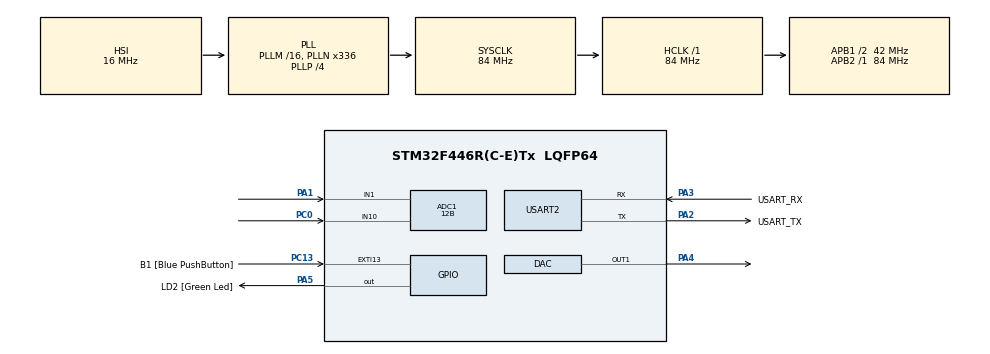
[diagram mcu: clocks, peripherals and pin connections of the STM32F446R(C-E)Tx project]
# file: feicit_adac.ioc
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ADC1.Channel-0\#ChannelRegularConversion=ADC_CHANNEL_1
ADC1.ContinuousConvMode=DISABLE
ADC1.DMAContinuousRequests=ENABLE
ADC1.ExternalTrigConv=ADC_EXTERNALTRIGCONV_T8_TRGO
ADC1.NbrOfConversionFlag=1
ADC1.Rank-0\#ChannelRegularConversion=1
ADC1.Resolution=ADC_RESOLUTION_12B
ADC1.SamplingTime-0\#ChannelRegularConversion=ADC_SAMPLETIME_480CYCLES
ADC1.ScanConvMode=ENABLE
ADC1.master=1
DAC.DAC_Trigger=DAC_TRIGGER_T8_TRGO
DAC.WaveGeneration=DISABLE
Dma.ADC1.0.Direction=DMA_PERIPH_TO_MEMORY
Dma.ADC1.0.FIFOMode=DMA_FIFOMODE_DISABLE
Dma.ADC1.0.Instance=DMA2_Stream0
Dma.ADC1.0.MemDataAlignment=DMA_MDATAALIGN_HALFWORD
Dma.ADC1.0.MemInc=DMA_MINC_ENABLE
Dma.ADC1.0.Mode=DMA_CIRCULAR
Dma.ADC1.0.PeriphDataAlignment=DMA_PDATAALIGN_HALFWORD
Dma.ADC1.0.PeriphInc=DMA_PINC_DISABLE
Dma.ADC1.0.Priority=DMA_PRIORITY_LOW
Dma.DAC1.1.Direction=DMA_MEMORY_TO_PERIPH
Dma.DAC1.1.FIFOMode=DMA_FIFOMODE_DISABLE
Dma.DAC1.1.Instance=DMA1_Stream5
Dma.DAC1.1.MemDataAlignment=DMA_MDATAALIGN_HALFWORD
Dma.DAC1.1.MemInc=DMA_MINC_ENABLE
Dma.DAC1.1.Mode=DMA_CIRCULAR
Dma.DAC1.1.PeriphDataAlignment=DMA_PDATAALIGN_HALFWORD
Dma.DAC1.1.PeriphInc=DMA_PINC_DISABLE
Dma.DAC1.1.Priority=DMA_PRIORITY_LOW
Dma.Request0=ADC1
Dma.Request1=DAC1
Dma.Request2=USART2_TX
Dma.USART2_TX.2.Direction=DMA_MEMORY_TO_PERIPH
Dma.USART2_TX.2.FIFOMode=DMA_FIFOMODE_DISABLE
Dma.USART2_TX.2.Instance=DMA1_Stream6
Dma.USART2_TX.2.MemDataAlignment=DMA_MDATAALIGN_BYTE
Dma.USART2_TX.2.MemInc=DMA_MINC_ENABLE
Dma.USART2_TX.2.Mode=DMA_CIRCULAR
Dma.USART2_TX.2.PeriphDataAlignment=DMA_PDATAALIGN_BYTE
Dma.USART2_TX.2.PeriphInc=DMA_PINC_DISABLE
Dma.USART2_TX.2.Priority=DMA_PRIORITY_LOW
Mcu.Family=STM32F4
Mcu.Name=STM32F446R(C-E)Tx
Mcu.Package=LQFP64
NVIC.ADC_IRQn=true\:0\:0\:false\:false\:true\:true\:true\:true
NVIC.DMA1_Stream5_IRQn=true\:0\:0\:false\:false\:true\:false\:true\:true
NVIC.DMA1_Stream6_IRQn=true\:0\:0\:false\:false\:true\:false\:true\:true
NVIC.DMA2_Stream0_IRQn=true\:0\:0\:false\:false\:true\:false\:true\:true
NVIC.PriorityGroup=NVIC_PRIORITYGROUP_0
NVIC.TIM6_DAC_IRQn=true\:0\:0\:false\:false\:true\:true\:true\:true
NVIC.USART2_IRQn=true\:0\:0\:false\:false\:true\:true\:true\:true
PA1.Signal=ADCx_IN1
PA13.GPIO_Label=TMS
PA13.Mode=Serial_Wire
PA13.Signal=SYS_JTMS-SWDIO
PA14.GPIO_Label=TCK
PA14.Mode=Serial_Wire
PA14.Signal=SYS_JTCK-SWCLK
PA2.GPIO_Label=USART_TX
PA2.Mode=Asynchronous
PA2.Signal=USART2_TX
PA3.GPIO_Label=USART_RX
PA3.Mode=Asynchronous
PA3.Signal=USART2_RX
PA4.Signal=COMP_DAC1_group
PA5.GPIO_Label=LD2 [Green Led]
PA5.Signal=GPIO_Output
PB3.GPIO_Label=SWO
PB3.Signal=SYS_JTDO-SWO
PC0.Signal=ADCx_IN10
PC13.GPIO_Label=B1 [Blue PushButton]
PC13.GPIO_ModeDefaultEXTI=GPIO_MODE_IT_FALLING
PC13.Signal=GPXTI13
PC14-OSC32_IN.Mode=LSE-External-Oscillator
PC14-OSC32_IN.Signal=RCC_OSC32_IN
PC15-OSC32_OUT.Mode=LSE-External-Oscillator
PC15-OSC32_OUT.Signal=RCC_OSC32_OUT
PH0-OSC_IN.Mode=HSE-External-Oscillator
PH0-OSC_IN.Signal=RCC_OSC_IN
PH1-OSC_OUT.Mode=HSE-External-Oscillator
PH1-OSC_OUT.Signal=RCC_OSC_OUT
ProjectManager.HeapSize=0x200
ProjectManager.StackSize=0x400
ProjectManager.TargetToolchain=STM32CubeIDE
RCC.48MHZClocksFreq_Value=84000000
RCC.AHBFreq_Value=84000000
RCC.APB1CLKDivider=RCC_HCLK_DIV2
RCC.APB1Freq_Value=42000000
RCC.APB1TimFreq_Value=84000000
RCC.APB2Freq_Value=84000000
RCC.APB2TimFreq_Value=84000000
RCC.CortexFreq_Value=84000000
RCC.FLatency-AdvancedSettings=FLASH_LATENCY_2
RCC.HCLKFreq_Value=84000000
RCC.HSE_VALUE=8000000
RCC.HSI_VALUE=16000000
RCC.PLLN=336
RCC.PLLP=RCC_PLLP_DIV4
RCC.SYSCLKFreq_VALUE=84000000
RCC.SYSCLKSource=RCC_SYSCLKSOURCE_PLLCLK
RCC.USBFreq_Value=168000000
RCC.VCOOutputFreq_Value=336000000
SH.ADCx_IN1.0=ADC1_IN1,IN1
SH.ADCx_IN10.0=ADC1_IN10,IN10
SH.COMP_DAC1_group.0=DAC_OUT1,DAC_OUT1
TIM8.Period=100-1
TIM8.Prescaler=100-1
TIM8.TIM_MasterOutputTrigger=TIM_TRGO_UPDATE
USART2.VirtualMode=VM_ASYNC
VP_TIM8_VS_ClockSourceINT.Mode=Internal
board=NUCLEO-F446RE

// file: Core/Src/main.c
/* USER CODE BEGIN Header */
/* USER CODE END Header */
#include "main.h"
#include "adc.h"
#include "dac.h"
#include "dma.h"
#include "tim.h"
#include "usart.h"
#include "gpio.h"
/* USER CODE BEGIN Includes */
#include <stdlib.h>
/* USER CODE END Includes */
/* USER CODE BEGIN PV */
#define num_amostra 400
#define metade_amostra (num_amostra / 2)
uint16_t amostra_atraso = 200;
uint16_t entrada[num_amostra];
uint16_t saida[num_amostra];
uint16_t  amostra_past[10000];
uint16_t indice=0;
uint32_t temp_now=0;
uint32_t temp_bf=0;
uint32_t tempoProcesso = 0;

char rx[4];
char tx[4];
/* USER CODE END PV */
void SystemClock_Config(void);
/* USER CODE BEGIN 0 */
void func_filtro(uint32_t start, uint32_t count)
{
   for (uint32_t i = start; i < start + count; i++)
   {
       float x = entrada[i] ;
       float y = 0.15 * x + 0.85 * amostra_past[indice];
       amostra_past[indice] = y;
       indice++;
       if (indice >= amostra_atraso)
       {
           indice = 0;
       }
       saida [i]=y;
   }

   temp_bf = temp_now;
   temp_now = HAL_GetTick();
   tempoProcesso = temp_now - temp_bf;
}
/* USER CODE END 0 */
int main(void)
{
 /* MCU Configuration--------------------------------------------------------*/
 /* Reset of all peripherals, Initializes the Flash interface and the Systick. */
 HAL_Init();
 /* Configure the system clock */
 SystemClock_Config();
 /* Initialize all configured peripherals */
 MX_GPIO_Init();
 MX_DMA_Init();
 MX_USART2_UART_Init();
 MX_ADC1_Init();
 MX_DAC_Init();
 MX_TIM8_Init();
 /* USER CODE BEGIN 2 */
   HAL_DAC_Start_DMA(&hdac,DAC_CHANNEL_1,saida,num_amostra,DAC_ALIGN_12B_R);
   HAL_ADC_Start_DMA(&hadc1,entrada,num_amostra);
   HAL_UART_Receive_IT(&huart2, rx, 4);
   HAL_TIM_Base_Start(&htim8);

   temp_now = HAL_GetTick();

 /* USER CODE END 2 */
 /* Infinite loop */
 while (1)
 {
 }
}
void SystemClock_Config(void)
{
 RCC_OscInitTypeDef RCC_OscInitStruct = {0};
 RCC_ClkInitTypeDef RCC_ClkInitStruct = {0};
 /** Configure the main internal regulator output voltage
 */
 __HAL_RCC_PWR_CLK_ENABLE();
 __HAL_PWR_VOLTAGESCALING_CONFIG(PWR_REGULATOR_VOLTAGE_SCALE3);
 /** Initializes the RCC Oscillators according to the specified parameters
 * in the RCC_OscInitTypeDef structure.
 */
 RCC_OscInitStruct.OscillatorType = RCC_OSCILLATORTYPE_HSI;
 RCC_OscInitStruct.HSIState = RCC_HSI_ON;
 RCC_OscInitStruct.HSICalibrationValue = RCC_HSICALIBRATION_DEFAULT;
 RCC_OscInitStruct.PLL.PLLState = RCC_PLL_ON;
 RCC_OscInitStruct.PLL.PLLSource = RCC_PLLSOURCE_HSI;
 RCC_OscInitStruct.PLL.PLLM = 16;
 RCC_OscInitStruct.PLL.PLLN = 336;
 RCC_OscInitStruct.PLL.PLLP = RCC_PLLP_DIV4;
 RCC_OscInitStruct.PLL.PLLQ = 2;
 RCC_OscInitStruct.PLL.PLLR = 2;
 if (HAL_RCC_OscConfig(&RCC_OscInitStruct) != HAL_OK)
 {
   Error_Handler();
 }
 /** Initializes the CPU, AHB and APB buses clocks
 */
 RCC_ClkInitStruct.ClockType = RCC_CLOCKTYPE_HCLK|RCC_CLOCKTYPE_SYSCLK
                             |RCC_CLOCKTYPE_PCLK1|RCC_CLOCKTYPE_PCLK2;
 RCC_ClkInitStruct.SYSCLKSource = RCC_SYSCLKSOURCE_PLLCLK;
 RCC_ClkInitStruct.AHBCLKDivider = RCC_SYSCLK_DIV1;
 RCC_ClkInitStruct.APB1CLKDivider = RCC_HCLK_DIV2;
 RCC_ClkInitStruct.APB2CLKDivider = RCC_HCLK_DIV1;
 if (HAL_RCC_ClockConfig(&RCC_ClkInitStruct, FLASH_LATENCY_2) != HAL_OK)
 {
   Error_Handler();
 }
}
/* USER CODE BEGIN 4 */
void HAL_ADC_ConvHalfCpltCallback(ADC_HandleTypeDef *hadc)
{
   if (hadc->Instance == ADC1)
   {
       func_filtro(0, metade_amostra);
   }
}
void HAL_ADC_ConvCpltCallback(ADC_HandleTypeDef *hadc)
{
   if (hadc->Instance == ADC1)
   {
       func_filtro(metade_amostra, metade_amostra);
   }
}

void HAL_UART_RxCpltCallback(UART_HandleTypeDef *huart)
{
	if	(huart->Instance == USART2)
	{
	   HAL_UART_Transmit_IT(&huart2, rx, 4);
	   amostra_atraso=atoi(rx);

	}
	   HAL_UART_Receive_IT(&huart2, rx, 4);
}
/* USER CODE END 4 */
void Error_Handler(void)
{
 __disable_irq();
 while (1)
 {
 }
}
